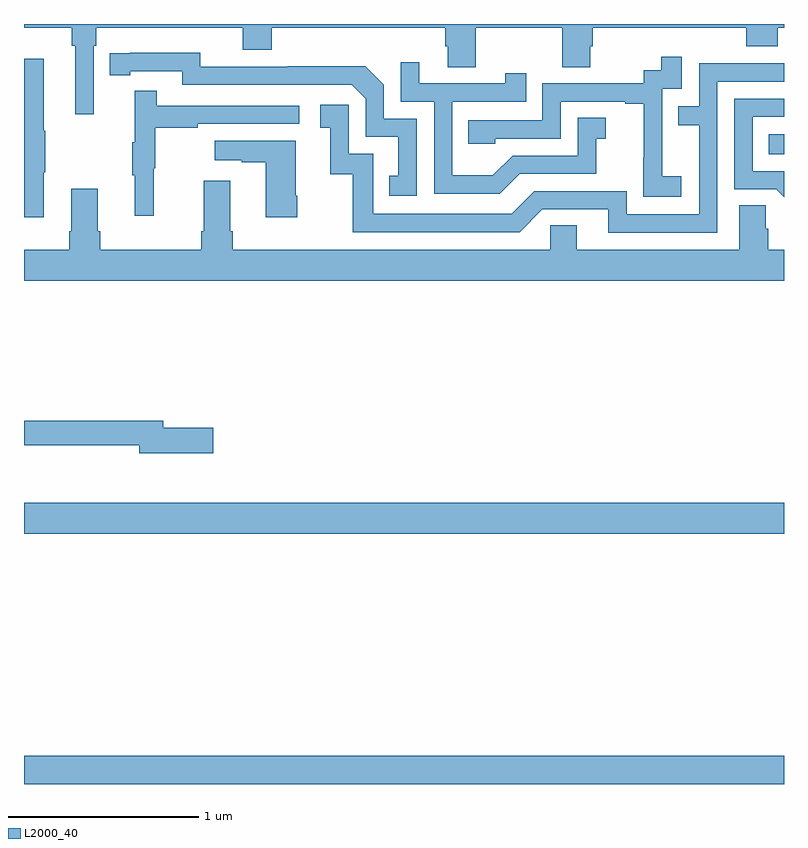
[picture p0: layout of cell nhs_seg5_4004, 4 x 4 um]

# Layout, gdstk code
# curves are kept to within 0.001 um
import gdstk
lib = gdstk.Library(unit=1e-6, precision=1e-09)
def R(c, l, rs):  # rectangles x0, y0, x1, y1
    for r in rs: c.add(gdstk.rectangle(r[:2], r[2:], *l))
def P(c, l, *ps):  # polygons
    for p in ps: c.add(gdstk.Polygon(p, *l))
L2000_40 = (2000, 40)

nhs_seg5_4004 = lib.new_cell('nhs_seg5_4004')
R(nhs_seg5_4004, L2000_40, [(347,832.799,351,832.948), (347,834.116,351,834.28), (350.92,836.114,351,836.218)])
P(nhs_seg5_4004, L2000_40, [(347.367,836.684),(347.381,836.684),(347.381,836.78),(348.152,836.78),(348.152,836.663),(348.305,836.663),(348.305,836.78),(349.217,836.78),(349.217,836.682),(349.229,836.682),(349.229,836.572),(349.377,836.572),(349.377,836.78),(349.834,836.78),(349.834,836.572),(349.981,836.572),(349.981,836.682),(349.994,836.682),(349.994,836.78),(350.801,836.78),(350.801,836.681),(350.966,836.681),(350.966,836.78),(351,836.78),(351,836.799),(347,836.799),(347,836.78),(347.251,836.78),(347.251,836.684),(347.27,836.684),(347.27,836.325),(347.367,836.325)],
  [(349.068,836.301),(348.894,836.301),(348.894,836.478),(348.796,836.576),(348.388,836.576),(348.388,836.574),(347.928,836.574),(347.928,836.647),(347.452,836.646),(347.452,836.53),(347.56,836.53),(347.56,836.55),(347.832,836.55),(347.832,836.478),(348.726,836.478),(348.798,836.406),(348.798,836.205),(348.971,836.205),(348.971,836.001),(348.922,836.001),(348.922,835.896),(349.068,835.896)],
  [(350.458,835.999),(350.36,835.999),(350.36,836.228),(350.358,836.228),(350.358,836.457),(350.463,836.457),(350.463,836.626),(350.355,836.626),(350.355,836.556),(350.262,836.556),(350.262,836.487),(349.728,836.487),(349.728,836.292),(349.339,836.292),(349.339,836.169),(349.479,836.169),(349.479,836.196),(349.824,836.196),(349.824,836.391),(350.165,836.391),(350.165,836.379),(350.261,836.379),(350.261,836.095),(350.26,836.095),(350.26,835.889),(350.458,835.889)],
  [(347.104,836.02),(347.112,836.02),(347.112,836.237),(347.104,836.237),(347.104,836.617),(347,836.617),(347,835.782),(347.104,835.782)],
  [(349.609,836.01),(350.013,836.01),(350.013,836.195),(350.062,836.195),(350.062,836.305),(349.914,836.305),(349.914,836.106),(349.572,836.106),(349.468,836.002),(349.254,836.002),(349.254,836.391),(349.643,836.391),(349.643,836.539),(349.532,836.539),(349.532,836.487),(349.081,836.487),(349.081,836.599),(348.984,836.599),(348.984,836.391),(349.158,836.391),(349.158,835.905),(349.504,835.905)],
  [(350.649,836.496),(351,836.496),(351,836.592),(350.553,836.592),(350.553,836.367),(350.443,836.367),(350.443,836.266),(350.553,836.266),(350.553,835.797),(350.172,835.797),(350.172,835.92),(349.686,835.92),(349.566,835.8),(348.837,835.8),(348.837,836.115),(348.708,836.115),(348.708,836.374),(348.558,836.374),(348.558,836.253),(348.611,836.253),(348.611,836.007),(348.729,836.007),(348.729,835.704),(349.608,835.704),(349.728,835.824),(350.075,835.824),(350.075,835.701),(350.649,835.701)],
  [(347.684,836.04),(347.692,836.04),(347.692,836.254),(347.915,836.254),(347.915,836.274),(348.448,836.274),(348.448,836.37),(347.699,836.37),(347.699,836.449),(347.582,836.449),(347.582,836.177),(347.571,836.177),(347.571,836.003),(347.582,836.003),(347.582,835.791),(347.684,835.791)],
  [(351,836.025),(350.835,836.025),(350.835,836.31),(351,836.31),(351,836.406),(350.739,836.406),(350.739,835.929),(350.958,835.929),(351,835.887)],
  [(348.438,835.894),(348.43,835.894),(348.43,836.185),(348.003,836.185),(348.003,836.081),(348.146,836.081),(348.146,836.071),(348.272,836.071),(348.272,835.782),(348.438,835.782)],
  [(351,835.612),(350.918,835.612),(350.918,835.721),(350.904,835.721),(350.904,835.844),(350.765,835.844),(350.765,835.612),(349.909,835.612),(349.909,835.739),(349.77,835.739),(349.77,835.612),(348.098,835.612),(348.098,835.708),(348.085,835.708),(348.085,835.975),(347.945,835.975),(347.945,835.708),(347.933,835.708),(347.933,835.612),(347.402,835.612),(347.402,835.708),(347.389,835.708),(347.389,835.933),(347.249,835.933),(347.249,835.708),(347.237,835.708),(347.237,835.612),(347,835.612),(347,835.448),(351,835.448)],
  [(347.995,834.674),(347.734,834.674),(347.734,834.71),(347,834.71),(347,834.582),(347.606,834.582),(347.606,834.539),(347.995,834.539)])

lib.write_gds('nhs_seg5_4004.gds')
